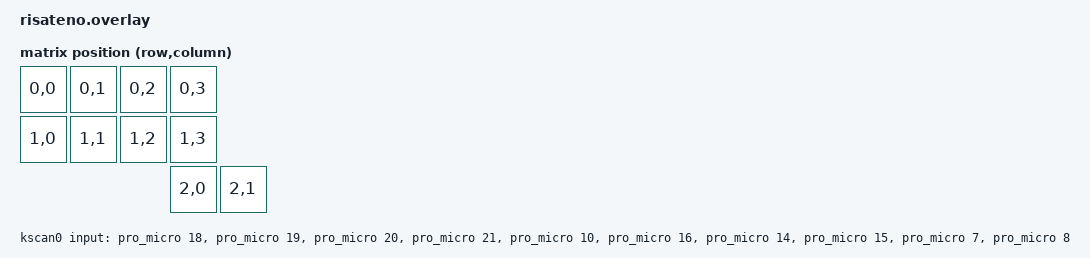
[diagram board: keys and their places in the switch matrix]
/*
 * Copyright (c) 2020 The ZMK Contributors
 *
 * SPDX-License-Identifier: MIT
 */

#include <dt-bindings/zmk/matrix_transform.h>

/ {
    chosen {
        zmk,kscan = &kscan0;
        zmk,matrix_transform = &default_transform;
    };

    default_transform: keymap_transform_0 {
        compatible = "zmk,matrix-transform";
        columns = <4>;
        rows = <3>;
        map = <
        RC(0,0) RC(0,1) RC(0,2) RC(0,3)
        RC(1,0) RC(1,1) RC(1,2) RC(1,3)
                                RC(2,0) RC(2,1)
            >;
    };

    kscan0: kscan {
        compatible = "zmk,kscan-gpio-direct";
        label = "KSCAN";

        input-gpios
            = <&pro_micro 18 (GPIO_ACTIVE_LOW | GPIO_PULL_UP)>
            , <&pro_micro 19 (GPIO_ACTIVE_LOW | GPIO_PULL_UP)>
            , <&pro_micro 20 (GPIO_ACTIVE_LOW | GPIO_PULL_UP)>
            , <&pro_micro 21 (GPIO_ACTIVE_LOW | GPIO_PULL_UP)>
            , <&pro_micro 10 (GPIO_ACTIVE_LOW | GPIO_PULL_UP)>
            , <&pro_micro 16 (GPIO_ACTIVE_LOW | GPIO_PULL_UP)>
            , <&pro_micro 14 (GPIO_ACTIVE_LOW | GPIO_PULL_UP)>
            , <&pro_micro 15 (GPIO_ACTIVE_LOW | GPIO_PULL_UP)>
            , <&pro_micro 7 (GPIO_ACTIVE_LOW | GPIO_PULL_UP)>
            , <&pro_micro 8 (GPIO_ACTIVE_LOW | GPIO_PULL_UP)>
            ;
    };
};
